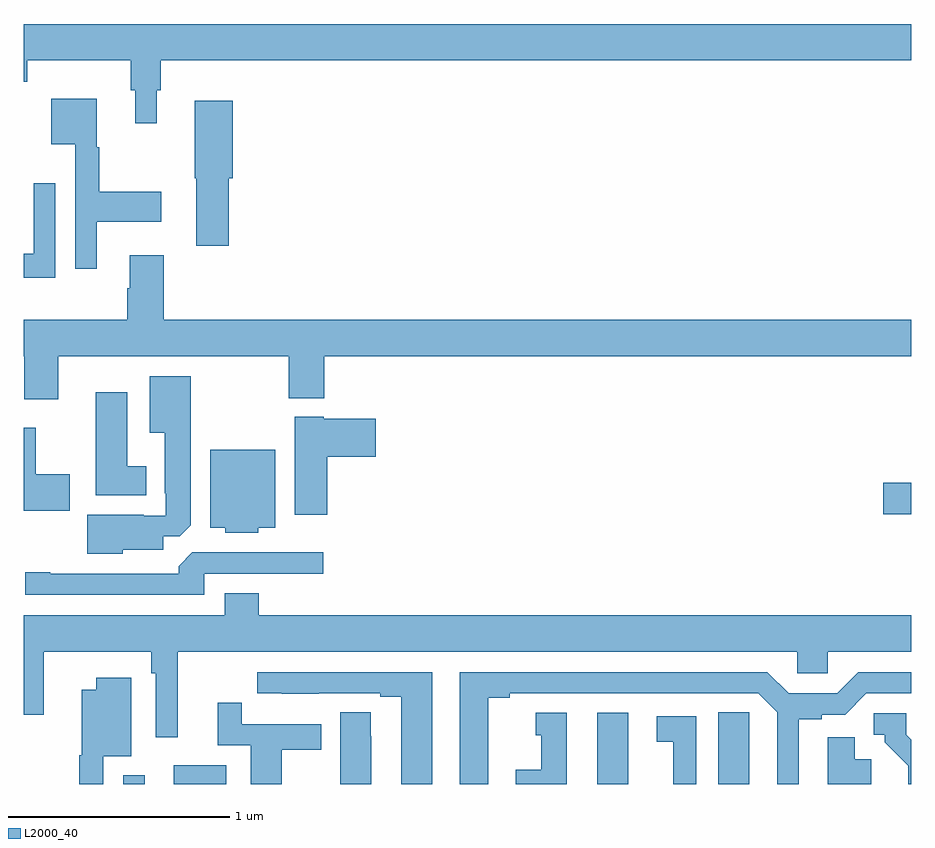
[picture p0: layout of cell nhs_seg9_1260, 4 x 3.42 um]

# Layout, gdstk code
import gdstk
lib = gdstk.Library(unit=1e-6, precision=1e-09)
def R(c, l, rs):  # rectangles x0, y0, x1, y1
    for r in rs: c.add(gdstk.rectangle(r[:2], r[2:], *l))
def P(c, l, *ps):  # polygons
    for p in ps: c.add(gdstk.Polygon(p, *l))
L2000_40 = (2000, 40)

nhs_seg9_1260 = lib.new_cell('nhs_seg9_1260')
R(nhs_seg9_1260, L2000_40, [(181.449,1186.5,181.546,1186.54), (181.676,1186.5,181.912,1186.585), (183.584,1186.5,183.724,1186.822), (184.872,1187.716,185,1187.858)])
P(nhs_seg9_1260, L2000_40, [(181.6,1189.626),(181.619,1189.626),(181.619,1189.76),(185,1189.76),(185,1189.924),(181,1189.924),(181,1189.664),(181.016,1189.664),(181.016,1189.76),(181.483,1189.76),(181.483,1189.626),(181.502,1189.626),(181.502,1189.476),(181.6,1189.476)],
  [(181.33,1189.034),(181.621,1189.034),(181.621,1189.169),(181.342,1189.169),(181.342,1189.368),(181.33,1189.368),(181.33,1189.588),(181.124,1189.588),(181.124,1189.382),(181.233,1189.382),(181.233,1188.822),(181.33,1188.822)],
  [(181.925,1189.23),(181.943,1189.23),(181.943,1189.579),(181.772,1189.579),(181.772,1189.23),(181.778,1189.23),(181.778,1188.924),(181.925,1188.924)],
  [(181.143,1189.207),(181.046,1189.207),(181.046,1188.889),(181,1188.889),(181,1188.78),(181.143,1188.78)],
  [(181.156,1188.428),(182.194,1188.428),(182.194,1188.239),(182.354,1188.239),(182.354,1188.428),(185,1188.428),(185,1188.592),(181.631,1188.592),(181.631,1188.883),(181.478,1188.883),(181.478,1188.734),(181.466,1188.734),(181.466,1188.592),(181,1188.592),(181,1188.428),(181.004,1188.428),(181.004,1188.234),(181.156,1188.234)],
  [(181.446,1187.555),(181.63,1187.555),(181.63,1187.616),(181.704,1187.616),(181.753,1187.665),(181.753,1188.337),(181.568,1188.337),(181.568,1188.083),(181.637,1188.083),(181.637,1187.809),(181.641,1187.809),(181.641,1187.709),(181.541,1187.709),(181.541,1187.713),(181.286,1187.713),(181.286,1187.537),(181.446,1187.537)],
  [(181.552,1187.932),(181.468,1187.932),(181.468,1188.265),(181.325,1188.265),(181.325,1187.801),(181.552,1187.801)],
  [(182.369,1187.975),(182.587,1187.975),(182.587,1188.145),(182.352,1188.145),(182.352,1188.154),(182.222,1188.154),(182.222,1187.712),(182.369,1187.712)],
  [(181.207,1187.895),(181.054,1187.895),(181.054,1188.106),(181,1188.106),(181,1187.732),(181.207,1187.732)],
  [(182.058,1187.654),(182.134,1187.654),(182.134,1188.007),(181.841,1188.007),(181.841,1187.654),(181.908,1187.654),(181.908,1187.633),(182.058,1187.633)],
  [(181.815,1187.448),(182.35,1187.448),(182.35,1187.544),(181.761,1187.544),(181.7,1187.482),(181.7,1187.448),(181.12,1187.448),(181.12,1187.453),(181.008,1187.453),(181.008,1187.352),(181.815,1187.352)],
  [(181.694,1187.096),(184.485,1187.096),(184.485,1186.998),(184.623,1186.998),(184.623,1187.096),(185,1187.096),(185,1187.26),(182.06,1187.26),(182.06,1187.359),(181.907,1187.359),(181.907,1187.26),(181,1187.26),(181,1186.812),(181.092,1186.812),(181.092,1187.096),(181.576,1187.096),(181.576,1187),(181.596,1187),(181.596,1186.71),(181.694,1186.71)],
  [(182.842,1187.004),(182.052,1187.004),(182.052,1186.908),(182.164,1186.908),(182.164,1186.907),(182.33,1186.907),(182.33,1186.908),(182.606,1186.908),(182.606,1186.893),(182.702,1186.893),(182.702,1186.5),(182.842,1186.5)],
  [(183.094,1186.888),(183.19,1186.888),(183.19,1186.908),(184.311,1186.908),(184.395,1186.824),(184.395,1186.5),(184.492,1186.5),(184.492,1186.792),(184.596,1186.792),(184.596,1186.812),(184.701,1186.812),(184.797,1186.908),(185,1186.908),(185,1187.004),(184.761,1187.004),(184.665,1186.908),(184.447,1186.908),(184.351,1187.004),(182.966,1187.004),(182.966,1186.5),(183.094,1186.5)],
  [(181.359,1186.625),(181.486,1186.625),(181.486,1186.978),(181.328,1186.978),(181.328,1186.924),(181.262,1186.924),(181.262,1186.629),(181.251,1186.629),(181.251,1186.5),(181.359,1186.5)],
  [(182.164,1186.654),(182.341,1186.654),(182.341,1186.77),(181.982,1186.77),(181.982,1186.867),(181.874,1186.867),(181.874,1186.674),(182.024,1186.674),(182.024,1186.5),(182.164,1186.5)],
  [(182.566,1186.715),(182.565,1186.715),(182.565,1186.823),(182.426,1186.823),(182.426,1186.5),(182.566,1186.5)],
  [(184.27,1186.715),(184.269,1186.715),(184.269,1186.823),(184.13,1186.823),(184.13,1186.5),(184.27,1186.5)],
  [(183.448,1186.822),(183.308,1186.822),(183.308,1186.719),(183.332,1186.719),(183.332,1186.564),(183.218,1186.564),(183.218,1186.5),(183.448,1186.5)],
  [(185,1186.699),(184.977,1186.722),(184.977,1186.818),(184.83,1186.818),(184.83,1186.722),(184.88,1186.722),(184.88,1186.687),(184.985,1186.582),(184.985,1186.5),(185,1186.5)],
  [(184.03,1186.806),(183.852,1186.806),(183.852,1186.69),(183.926,1186.69),(183.926,1186.5),(184.03,1186.5)],
  [(184.819,1186.612),(184.744,1186.612),(184.744,1186.711),(184.622,1186.711),(184.622,1186.5),(184.819,1186.5)])

lib.write_gds('nhs_seg9_1260.gds')
